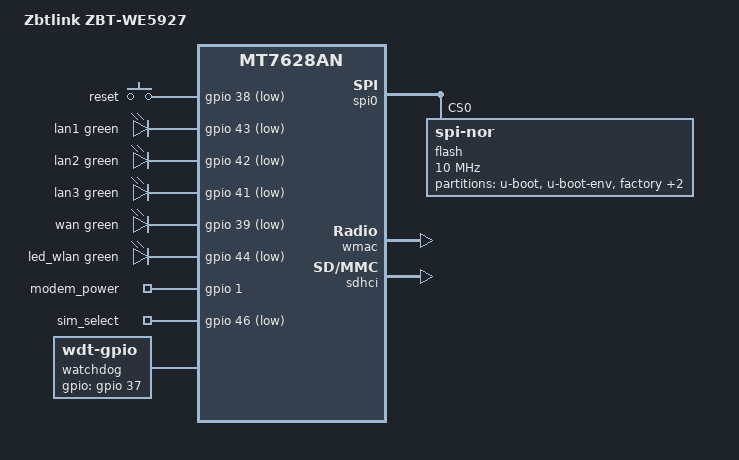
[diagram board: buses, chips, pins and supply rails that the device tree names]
// SPDX-License-Identifier: GPL-2.0-or-later OR MIT

#include "mt7628an.dtsi"

#include <dt-bindings/gpio/gpio.h>
#include <dt-bindings/input/input.h>
#include <dt-bindings/leds/common.h>

/ {
	compatible = "zbtlink,zbt-we5927", "mediatek,mt7628an-soc";
	model = "Zbtlink ZBT-WE5927";

/*
 * This WE2825-2SIM unit is physically single-band 2.4 GHz.
 * The vendor image is shared with related WE5927 variants and contains
 * PCIe/MT76x2 data, but runtime exposes only the integrated MT7628 radio.
 */

	aliases {
		led-boot = &led_wlan;
		led-failsafe = &led_wlan;
		led-upgrade = &led_wlan;
		label-mac-device = &wmac;
	};

	keys {
		compatible = "gpio-keys";

		reset {
			label = "reset";
			gpios = <&gpio 38 GPIO_ACTIVE_LOW>;
			linux,code = <KEY_RESTART>;
		};
	};

	leds {
		compatible = "gpio-leds";

		lan1 {
			gpios = <&gpio 43 GPIO_ACTIVE_LOW>;
			color = <LED_COLOR_ID_GREEN>;
			function = LED_FUNCTION_LAN;
			function-enumerator = <1>;
		};

		lan2 {
			gpios = <&gpio 42 GPIO_ACTIVE_LOW>;
			color = <LED_COLOR_ID_GREEN>;
			function = LED_FUNCTION_LAN;
			function-enumerator = <2>;
		};

		lan3 {
			gpios = <&gpio 41 GPIO_ACTIVE_LOW>;
			color = <LED_COLOR_ID_GREEN>;
			function = LED_FUNCTION_LAN;
			function-enumerator = <3>;
		};

		wan {
			gpios = <&gpio 39 GPIO_ACTIVE_LOW>;
			color = <LED_COLOR_ID_GREEN>;
			function = LED_FUNCTION_WAN;
		};

		led_wlan: wlan2g {
			gpios = <&gpio 44 GPIO_ACTIVE_LOW>;
			color = <LED_COLOR_ID_GREEN>;
			function = LED_FUNCTION_WLAN;
			linux,default-trigger = "phy0tpt";
		};
	};

	/*
	 * Confirmed from the real vendor rootfs:
	 * netcard.device.module_gpio=1, active=1;
	 * netcard.device.sim_switch_gpio=46, default=1.
	 */
	gpio_export {
		compatible = "gpio-export";

		modem_power {
			gpio-export,name = "modem_power";
			gpio-export,output = <1>;
			gpios = <&gpio 1 GPIO_ACTIVE_HIGH>;
		};

		sim_select {
			gpio-export,name = "sim_select";
			gpio-export,output = <1>;
			gpios = <&gpio 46 GPIO_ACTIVE_LOW>;
		};
	};

	/*
	 * Vendor anyversion config sets doggpio=37, dogtype=1 and
	 * feed_dog.sh flips GPIO37 once per second.  A 2 s hardware
	 * margin makes the kernel watchdog core refresh at a safe cadence.
	 */
	watchdog {
		compatible = "linux,wdt-gpio";
		gpios = <&gpio 37 GPIO_ACTIVE_HIGH>;
		hw_algo = "toggle";
		hw_margin_ms = <2000>;
		always-running;
	};
};

&spi0 {
	status = "okay";

	flash@0 {
		compatible = "jedec,spi-nor";
		reg = <0>;
		spi-max-frequency = <10000000>;

		partitions {
			compatible = "fixed-partitions";
			#address-cells = <1>;
			#size-cells = <1>;

			partition@0 {
				label = "u-boot";
				reg = <0x0 0x30000>;
				read-only;
			};

			partition@30000 {
				label = "u-boot-env";
				reg = <0x30000 0x10000>;
				read-only;
			};

			factory: partition@40000 {
				label = "factory";
				reg = <0x40000 0x10000>;
				read-only;

				nvmem-layout {
					compatible = "fixed-layout";
					#address-cells = <1>;
					#size-cells = <1>;

					eeprom_factory_0: eeprom@0 {
						reg = <0x0 0x400>;
					};

					macaddr_factory_28: macaddr@28 {
						reg = <0x28 0x6>;
					};
				};
			};

			partition@50000 {
				compatible = "denx,uimage";
				label = "firmware";
				reg = <0x50000 0x7a0000>;
			};

			partition@7f0000 {
				label = "art";
				reg = <0x7f0000 0x10000>;
				read-only;
			};
		};
	};
};

&state_default {
	gpio {
		groups = "gpio", "i2s", "refclk", "uart1", "wdt",
			 "p4led_an", "p3led_an", "p2led_an",
			 "p1led_an", "p0led_an", "wled_an";
		function = "gpio";
	};
};


&wmac {
	status = "okay";

	nvmem-cells = <&eeprom_factory_0>;
	nvmem-cell-names = "eeprom";
};

&ethernet {
	nvmem-cells = <&macaddr_factory_28>;
	nvmem-cell-names = "mac-address";
};

&sdhci {
	status = "okay";
};
